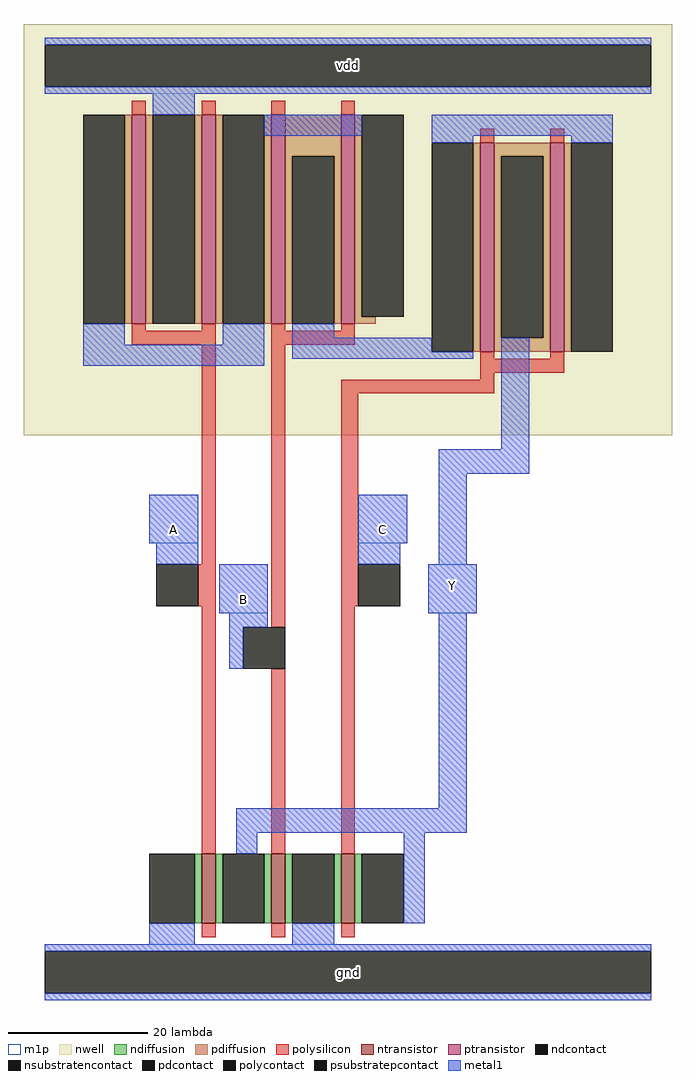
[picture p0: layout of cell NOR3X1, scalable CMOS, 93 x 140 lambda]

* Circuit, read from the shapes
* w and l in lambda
.subckt NOR3X1 A B C Y vdd gnd
M1 Y A gnd gnd nfet w=10 l=2
M2 gnd B Y gnd nfet w=10 l=2
M3 Y C gnd gnd nfet w=10 l=2
M4 vdd A n1 vdd pfet w=30 l=2 m=2
M5 n2 B n1 vdd pfet w=30 l=2 m=2
M6 Y C n2 vdd pfet w=30 l=2 m=2
.ends

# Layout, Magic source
magic
tech scmos
magscale 1 2
<< nwell >>
rect -13 154 173 272
<< ntransistor >>
rect 38 14 42 34
rect 58 14 62 34
rect 78 14 82 34
<< ptransistor >>
rect 18 186 22 246
rect 38 186 42 246
rect 58 186 62 246
rect 78 186 82 246
rect 118 178 122 238
rect 138 178 142 238
<< ndiffusion >>
rect 36 14 38 34
rect 42 14 44 34
rect 56 14 58 34
rect 62 14 64 34
rect 76 14 78 34
rect 82 14 84 34
<< pdiffusion >>
rect 16 186 18 246
rect 22 186 24 246
rect 36 186 38 246
rect 42 186 44 246
rect 56 186 58 246
rect 62 234 78 246
rect 62 186 64 234
rect 76 186 78 234
rect 82 188 84 246
rect 82 186 88 188
rect 116 178 118 238
rect 122 234 138 238
rect 122 182 124 234
rect 136 182 138 234
rect 122 178 138 182
rect 142 178 144 238
<< ndcontact >>
rect 23 14 36 34
rect 44 14 56 34
rect 64 14 76 34
rect 84 14 96 34
<< pdcontact >>
rect 4 186 16 246
rect 24 186 36 246
rect 44 186 56 246
rect 64 186 76 234
rect 84 188 96 246
rect 104 178 116 238
rect 124 182 136 234
rect 144 178 156 238
<< psubstratepcontact >>
rect -7 -6 167 6
<< nsubstratencontact >>
rect -7 254 167 266
<< polysilicon >>
rect 18 246 22 250
rect 38 246 42 250
rect 58 246 62 250
rect 78 246 82 250
rect 118 238 122 242
rect 138 238 142 242
rect 18 184 22 186
rect 38 184 42 186
rect 18 180 42 184
rect 38 117 42 180
rect 37 105 42 117
rect 38 34 42 105
rect 58 184 62 186
rect 78 184 82 186
rect 58 180 82 184
rect 58 99 62 180
rect 118 176 122 178
rect 138 176 142 178
rect 118 172 142 176
rect 118 170 122 172
rect 58 34 62 87
rect 78 166 122 170
rect 78 105 83 166
rect 78 34 82 105
rect 38 10 42 14
rect 58 10 62 14
rect 78 10 82 14
<< polycontact >>
rect 25 105 37 117
rect 50 87 62 99
rect 83 105 95 117
<< metal1 >>
rect -7 266 167 268
rect -7 252 167 254
rect 24 246 36 252
rect 56 240 84 246
rect 4 180 16 186
rect 44 180 56 186
rect 4 174 56 180
rect 104 240 156 246
rect 104 238 116 240
rect 64 182 76 186
rect 64 178 104 182
rect 144 238 156 240
rect 64 176 116 178
rect 124 150 132 182
rect 106 143 132 150
rect 23 123 37 137
rect 25 117 37 123
rect 83 123 97 137
rect 83 117 95 123
rect 106 117 114 143
rect 43 103 57 117
rect 103 103 117 117
rect 46 99 57 103
rect 46 87 50 99
rect 106 47 114 103
rect 48 40 114 47
rect 48 34 54 40
rect 96 14 102 40
rect 23 8 36 14
rect 64 8 76 14
rect -7 6 167 8
rect -7 -8 167 -6
<< m1p >>
rect -7 252 167 268
rect 23 123 37 137
rect 83 123 97 137
rect 43 103 57 117
rect 103 103 117 117
rect -7 -8 167 8
<< labels >>
rlabel nsubstratencontact 80 260 80 260 0 vdd
port 5 nsew power bidirectional abutment
rlabel psubstratepcontact 80 0 80 0 0 gnd
port 6 nsew ground bidirectional abutment
rlabel metal1 30 127 30 127 0 A
port 1 nsew signal input
rlabel metal1 90 127 90 127 0 C
port 3 nsew signal input
rlabel metal1 50 107 50 107 0 B
port 2 nsew signal input
rlabel metal1 110 111 110 111 0 Y
port 4 nsew signal output
<< properties >>
string FIXED_BBOX 0 0 160 260
string LEFclass CORE
string LEFsite core
string LEFsymmetry X Y
<< end >>
